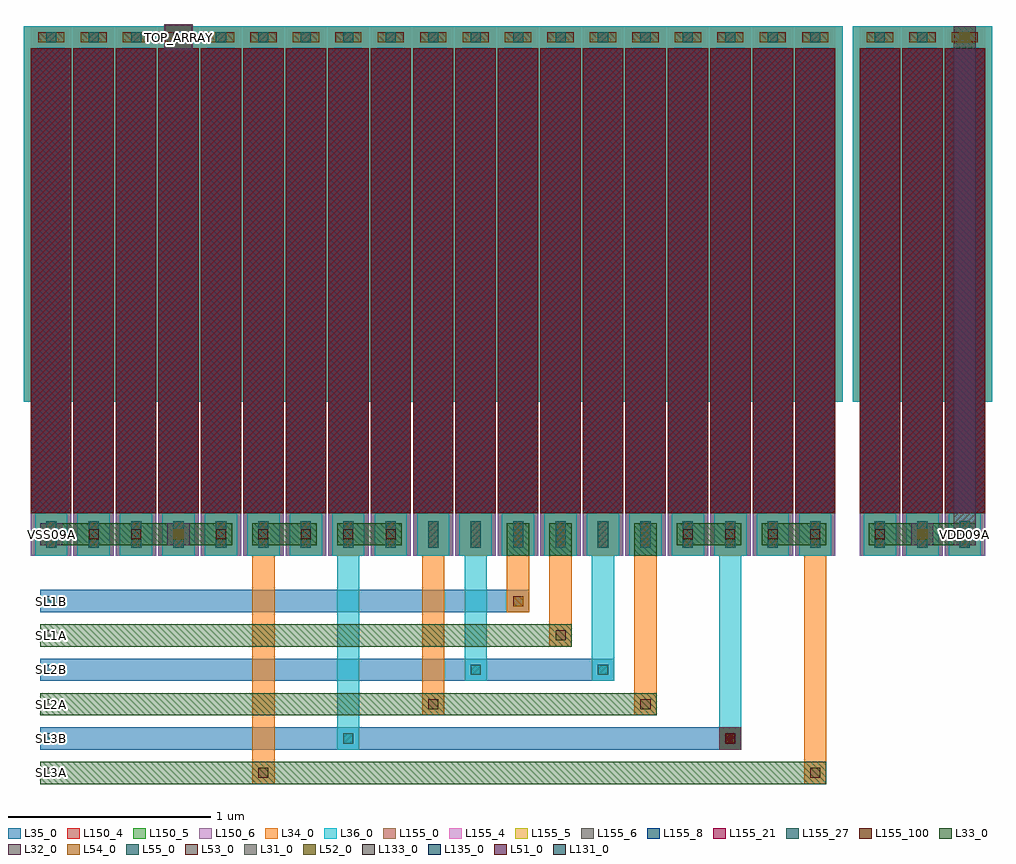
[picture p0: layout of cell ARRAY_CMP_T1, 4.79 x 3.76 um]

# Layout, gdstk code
from math import pi, radians
import gdstk
lib = gdstk.Library(unit=1e-6, precision=1e-09)
def R(c, l, rs):  # rectangles x0, y0, x1, y1
    for r in rs: c.add(gdstk.rectangle(r[:2], r[2:], *l))
def A(c, l, x, y, w, h, nx, ny, dx, dy):  # array of equal rectangles
    R(c, l, [(x+i*dx, y+j*dy, x+i*dx+w, y+j*dy+h) for i in range(nx) for j in range(ny)])
L31_0 = (31, 0)
L32_0 = (32, 0)
L33_0 = (33, 0)
L34_0 = (34, 0)
L35_0 = (35, 0)
L36_0 = (36, 0)
L51_0 = (51, 0)
L52_0 = (52, 0)
L53_0 = (53, 0)
L54_0 = (54, 0)
L55_0 = (55, 0)
L131_0 = (131, 0)
L133_0 = (133, 0)
L135_0 = (135, 0)
L150_4 = (150, 4)
L150_5 = (150, 5)
L150_6 = (150, 6)
L155_0 = (155, 0)
L155_4 = (155, 4)
L155_5 = (155, 5)
L155_6 = (155, 6)
L155_8 = (155, 8)
L155_21 = (155, 21)
L155_27 = (155, 27)
L155_100 = (155, 100)

m5_m4_cdns_622278099608 = lib.new_cell('M5_M4_CDNS_622278099608')
R(m5_m4_cdns_622278099608, L34_0, [(-0.07,-0.105,0.07,0.105)])
R(m5_m4_cdns_622278099608, L35_0, [(-0.07,-0.105,0.07,0.105)])
R(m5_m4_cdns_622278099608, L54_0, [(-0.025,-0.065,0.025,0.065)])

m6_m5_cdns_622278099609 = lib.new_cell('M6_M5_CDNS_622278099609')
R(m6_m5_cdns_622278099609, L35_0, [(-0.07,-0.105,0.07,0.105)])
R(m6_m5_cdns_622278099609, L36_0, [(-0.055,-0.105,0.055,0.105)])
R(m6_m5_cdns_622278099609, L55_0, [(-0.025,-0.065,0.025,0.065)])

m5_m4_cdns_6222780996010 = lib.new_cell('M5_M4_CDNS_6222780996010')
R(m5_m4_cdns_6222780996010, L34_0, [(-0.095,-0.055,0.095,0.055)])
R(m5_m4_cdns_6222780996010, L35_0, [(-0.12,-0.055,0.12,0.055)])
R(m5_m4_cdns_6222780996010, L54_0, [(-0.065,-0.025,0.065,0.025)])

m6_m5_cdns_622278099606 = lib.new_cell('M6_M5_CDNS_622278099606')
R(m6_m5_cdns_622278099606, L35_0, [(-0.055,-0.055,0.055,0.055)])
R(m6_m5_cdns_622278099606, L36_0, [(-0.055,-0.055,0.055,0.055)])
R(m6_m5_cdns_622278099606, L55_0, [(-0.025,-0.025,0.025,0.025)])

cu1f = lib.new_cell('CU1F')
R(cu1f, L34_0, [(0.02,0,0.18,0.21), (-0.035,2.51,0.235,2.62)])
R(cu1f, L35_0, [(0.02,0,0.18,0.21), (-0.035,2.51,0.235,2.62)])
R(cu1f, L36_0, [(0.02,0,0.18,0.21), (-0.035,2.51,0.235,2.62)])
R(cu1f, L150_4, [(0,0,0.2,2.62)])
R(cu1f, L150_5, [(0,0,0.2,2.62)])
R(cu1f, L150_6, [(0,0,0.2,2.62)])
R(cu1f, L155_0, [(0,0.21,0.2,2.51)])
R(cu1f, L155_4, [(0,0.21,0.2,2.51)])
R(cu1f, L155_5, [(0,0.21,0.2,2.51)])
R(cu1f, L155_6, [(0,0.21,0.2,2.51)])
R(cu1f, L155_8, [(0,0.21,0.2,2.51)])
R(cu1f, L155_21, [(0,0.21,0.2,2.51)])
R(cu1f, L155_27, [(0,0.21,0.2,2.51)])
R(cu1f, L155_100, [(0,0.21,0.2,2.51)])
cu1f.add(gdstk.FlexPath([(0.205,2.59),(0.205,0.76)], 0.06, ends=(0.03, 0), simple_path=True, layer=34, datatype=0))  # L34_0
cu1f.add(gdstk.FlexPath([(0.1,2.41),(0.1,0)], 0.05, ends="flush", simple_path=True, layer=34, datatype=0))  # L34_0
cu1f.add(gdstk.FlexPath([(-0.005,2.59),(-0.005,0.76)], 0.06, ends=(0.03, 0), simple_path=True, layer=34, datatype=0))  # L34_0
cu1f.add(gdstk.FlexPath([(0.205,0.76),(0.205,2.59)], 0.06, ends=(0, 0.03), simple_path=True, layer=35, datatype=0))  # L35_0
cu1f.add(gdstk.FlexPath([(0.1,2.41),(0.1,0)], 0.05, ends="flush", simple_path=True, layer=35, datatype=0))  # L35_0
cu1f.add(gdstk.FlexPath([(-0.005,0.76),(-0.005,2.59)], 0.06, ends=(0, 0.03), simple_path=True, layer=35, datatype=0))  # L35_0
cu1f.add(gdstk.FlexPath([(0.205,0.76),(0.205,2.59)], 0.06, ends=(0, 0.03), simple_path=True, layer=36, datatype=0))  # L36_0
cu1f.add(gdstk.FlexPath([(0.1,2.41),(0.1,0)], 0.05, ends="flush", simple_path=True, layer=36, datatype=0))  # L36_0
cu1f.add(gdstk.FlexPath([(-0.005,0.76),(-0.005,2.59)], 0.06, ends=(0, 0.03), simple_path=True, layer=36, datatype=0))  # L36_0
cu1f.add(gdstk.Reference(m5_m4_cdns_622278099608, (0.1,0.105), rotation=pi, x_reflection=True))
cu1f.add(gdstk.Reference(m6_m5_cdns_622278099609, (0.1,0.105), rotation=pi, x_reflection=True))
cu1f.add(gdstk.Reference(m5_m4_cdns_6222780996010, (0.1,2.565)))
cu1f.add(gdstk.Reference(m6_m5_cdns_622278099606, (0.1,2.565)))

m2_m1_cdns_622278099600 = lib.new_cell('M2_M1_CDNS_622278099600')
R(m2_m1_cdns_622278099600, L31_0, [(-0.055,-0.055,0.055,0.055)])
R(m2_m1_cdns_622278099600, L32_0, [(-0.055,-0.055,0.055,0.055)])
R(m2_m1_cdns_622278099600, L51_0, [(-0.025,-0.025,0.025,0.025)])

m3_m2_cdns_622278099601 = lib.new_cell('M3_M2_CDNS_622278099601')
R(m3_m2_cdns_622278099601, L32_0, [(-0.055,-0.055,0.055,0.055)])
R(m3_m2_cdns_622278099601, L33_0, [(-0.055,-0.055,0.055,0.055)])
R(m3_m2_cdns_622278099601, L52_0, [(-0.025,-0.025,0.025,0.025)])

m4_m3_cdns_622278099602 = lib.new_cell('M4_M3_CDNS_622278099602')
R(m4_m3_cdns_622278099602, L33_0, [(-0.055,-0.055,0.055,0.055)])
R(m4_m3_cdns_622278099602, L34_0, [(-0.055,-0.055,0.055,0.055)])
R(m4_m3_cdns_622278099602, L53_0, [(-0.025,-0.025,0.025,0.025)])

m4_m3_cdns_622278099603 = lib.new_cell('M4_M3_CDNS_622278099603')
R(m4_m3_cdns_622278099603, L33_0, [(-0.07,-0.065,0.07,0.065)])
R(m4_m3_cdns_622278099603, L34_0, [(-0.055,-0.055,0.055,0.055)])
R(m4_m3_cdns_622278099603, L53_0, [(-0.025,-0.025,0.025,0.025)])

m3_m2_cdns_622278099604 = lib.new_cell('M3_M2_CDNS_622278099604')
R(m3_m2_cdns_622278099604, L32_0, [(-0.065,-0.06,0.065,0.06)])
R(m3_m2_cdns_622278099604, L33_0, [(-0.07,-0.065,0.07,0.065)])
R(m3_m2_cdns_622278099604, L52_0, [(-0.025,-0.025,0.025,0.025)])

m2_m1_cdns_622278099605 = lib.new_cell('M2_M1_CDNS_622278099605')
R(m2_m1_cdns_622278099605, L31_0, [(-0.055,-0.055,0.055,0.055)])
R(m2_m1_cdns_622278099605, L32_0, [(-0.065,-0.06,0.065,0.06)])
R(m2_m1_cdns_622278099605, L51_0, [(-0.025,-0.025,0.025,0.025)])

m5_m4_cdns_622278099607 = lib.new_cell('M5_M4_CDNS_622278099607')
R(m5_m4_cdns_622278099607, L34_0, [(-0.055,-0.055,0.055,0.055)])
R(m5_m4_cdns_622278099607, L35_0, [(-0.055,-0.055,0.055,0.055)])
R(m5_m4_cdns_622278099607, L54_0, [(-0.025,-0.025,0.025,0.025)])

array_cmp_t1 = lib.new_cell('ARRAY_CMP_T1')
R(array_cmp_t1, L31_0, [(0.56,2.5,0.7,2.63)])
R(array_cmp_t1, L32_0, [(4.465,0.05,4.575,2.62)])
R(array_cmp_t1, L33_0, [(-0.055,-1.13,3.835,-1.02), (-0.055,-0.79,2.995,-0.68), (-0.055,-0.45,2.575,-0.34), (2.255,0,2.365,0.16), (2.465,0,2.575,0.16), (2.885,0,2.995,0.16), (-0.055,0.05,0.895,0.16), (0.995,0.05,1.315,0.16), (1.415,0.05,1.735,0.16), (3.095,0.05,3.415,0.16), (3.515,0.05,3.835,0.16), (4.045,0.05,4.575,0.16), (4.465,2.51,4.575,2.62)])
R(array_cmp_t1, L34_0, [(0.995,-1.13,1.105,0.16), (3.725,-1.13,3.835,0.16), (1.835,-0.79,1.945,0.16), (2.885,-0.79,2.995,0.16), (2.465,-0.45,2.575,0.16), (2.255,-0.28,2.365,0.16)])
R(array_cmp_t1, L35_0, [(-0.055,-0.96,3.415,-0.85), (-0.055,-0.62,2.785,-0.51), (-0.055,-0.28,2.365,-0.17)])
R(array_cmp_t1, L36_0, [(1.415,-0.96,1.525,0.16), (3.305,-0.96,3.415,0.16), (2.045,-0.62,2.155,0.16), (2.675,-0.62,2.785,0.16)])
R(array_cmp_t1, L131_0, [(0.605,2.54,0.655,2.59)])
A(array_cmp_t1, L133_0, -0.025, -1.1, 0.05, 0.05, 1, 3, 0, 0.34)
R(array_cmp_t1, L133_0, [(-0.025,0.08,0.025,0.13), (4.495,0.08,4.545,0.13)])
A(array_cmp_t1, L135_0, -0.025, -0.93, 0.05, 0.05, 1, 3, 0, 0.34)
array_cmp_t1.add(gdstk.Reference(cu1f, (4,0)))
array_cmp_t1.add(gdstk.Reference(cu1f, (4.21,0)))
array_cmp_t1.add(gdstk.Reference(cu1f, (0.53,0)))
array_cmp_t1.add(gdstk.Reference(cu1f, (0.74,0)))
array_cmp_t1.add(gdstk.Reference(cu1f, (4.42,0)))
array_cmp_t1.add(gdstk.Reference(cu1f, (0.32,0)))
array_cmp_t1.add(gdstk.Reference(cu1f, (0.11,0)))
array_cmp_t1.add(gdstk.Reference(cu1f, (-0.1,0)))
array_cmp_t1.add(gdstk.Reference(cu1f, (3.68,0)))
array_cmp_t1.add(gdstk.Reference(cu1f, (3.47,0)))
array_cmp_t1.add(gdstk.Reference(cu1f, (3.26,0)))
array_cmp_t1.add(gdstk.Reference(cu1f, (3.05,0)))
array_cmp_t1.add(gdstk.Reference(cu1f, (2.84,0)))
array_cmp_t1.add(gdstk.Reference(cu1f, (2.63,0)))
array_cmp_t1.add(gdstk.Reference(cu1f, (2.42,0)))
array_cmp_t1.add(gdstk.Reference(cu1f, (2.21,0)))
array_cmp_t1.add(gdstk.Reference(cu1f, (2,0)))
array_cmp_t1.add(gdstk.Reference(cu1f, (1.79,0)))
array_cmp_t1.add(gdstk.Reference(cu1f, (1.58,0)))
array_cmp_t1.add(gdstk.Reference(cu1f, (1.37,0)))
array_cmp_t1.add(gdstk.Reference(cu1f, (1.16,0)))
array_cmp_t1.add(gdstk.Reference(cu1f, (0.95,0)))
array_cmp_t1.add(gdstk.Reference(m2_m1_cdns_622278099600, (3.36,-0.905)))
array_cmp_t1.add(gdstk.Reference(m3_m2_cdns_622278099601, (4.52,2.565)))
array_cmp_t1.add(gdstk.Reference(m3_m2_cdns_622278099601, (4.52,0.105)))
array_cmp_t1.add(gdstk.Reference(m3_m2_cdns_622278099601, (0,0.105)))
array_cmp_t1.add(gdstk.Reference(m3_m2_cdns_622278099601, (0.63,0.105)))
array_cmp_t1.add(gdstk.Reference(m3_m2_cdns_622278099601, (4.31,0.105)))
array_cmp_t1.add(gdstk.Reference(m3_m2_cdns_622278099601, (3.36,-0.905)))
array_cmp_t1.add(gdstk.Reference(m4_m3_cdns_622278099602, (4.52,2.565), rotation=pi, x_reflection=True))
array_cmp_t1.add(gdstk.Reference(m4_m3_cdns_622278099602, (2.94,-0.735)))
array_cmp_t1.add(gdstk.Reference(m4_m3_cdns_622278099602, (1.05,-1.075)))
array_cmp_t1.add(gdstk.Reference(m4_m3_cdns_622278099602, (1.89,-0.735)))
array_cmp_t1.add(gdstk.Reference(m4_m3_cdns_622278099602, (1.68,0.105)))
array_cmp_t1.add(gdstk.Reference(m4_m3_cdns_622278099602, (3.78,0.105)))
array_cmp_t1.add(gdstk.Reference(m4_m3_cdns_622278099602, (3.36,0.105)))
array_cmp_t1.add(gdstk.Reference(m4_m3_cdns_622278099602, (3.15,0.105)))
array_cmp_t1.add(gdstk.Reference(m4_m3_cdns_622278099602, (3.78,-1.075)))
array_cmp_t1.add(gdstk.Reference(m4_m3_cdns_622278099602, (4.52,0.105)))
array_cmp_t1.add(gdstk.Reference(m4_m3_cdns_622278099602, (0.21,0.105)))
array_cmp_t1.add(gdstk.Reference(m4_m3_cdns_622278099602, (0.42,0.105)))
array_cmp_t1.add(gdstk.Reference(m4_m3_cdns_622278099602, (0,0.105)))
array_cmp_t1.add(gdstk.Reference(m4_m3_cdns_622278099602, (0.84,0.105)))
array_cmp_t1.add(gdstk.Reference(m4_m3_cdns_622278099602, (0.63,0.105)))
array_cmp_t1.add(gdstk.Reference(m4_m3_cdns_622278099602, (4.1,0.105)))
array_cmp_t1.add(gdstk.Reference(m4_m3_cdns_622278099602, (4.31,0.105)))
array_cmp_t1.add(gdstk.Reference(m4_m3_cdns_622278099602, (1.26,0.105)))
array_cmp_t1.add(gdstk.Reference(m4_m3_cdns_622278099602, (2.52,-0.395)))
array_cmp_t1.add(gdstk.Reference(m4_m3_cdns_622278099602, (1.47,0.105)))
array_cmp_t1.add(gdstk.Reference(m4_m3_cdns_622278099602, (1.05,0.105)))
array_cmp_t1.add(gdstk.Reference(m4_m3_cdns_622278099602, (3.36,-0.905)))
array_cmp_t1.add(gdstk.Reference(m4_m3_cdns_622278099602, (3.57,0.105)))
array_cmp_t1.add(gdstk.Reference(m4_m3_cdns_622278099603, (0.63,2.565)))
array_cmp_t1.add(gdstk.Reference(m3_m2_cdns_622278099604, (0.63,2.565)))
array_cmp_t1.add(gdstk.Reference(m2_m1_cdns_622278099605, (0.63,2.565)))
array_cmp_t1.add(gdstk.Reference(m6_m5_cdns_622278099606, (3.36,0.105)))
array_cmp_t1.add(gdstk.Reference(m6_m5_cdns_622278099606, (1.47,0.105)))
array_cmp_t1.add(gdstk.Reference(m6_m5_cdns_622278099606, (3.36,-0.905)))
array_cmp_t1.add(gdstk.Reference(m6_m5_cdns_622278099606, (2.1,-0.565)))
array_cmp_t1.add(gdstk.Reference(m6_m5_cdns_622278099606, (1.47,-0.905)))
array_cmp_t1.add(gdstk.Reference(m6_m5_cdns_622278099606, (2.73,-0.565)))
array_cmp_t1.add(gdstk.Reference(m5_m4_cdns_622278099607, (2.31,-0.225)))
array_cmp_t1.add(gdstk.Reference(m5_m4_cdns_622278099607, (1.47,0.105)))
array_cmp_t1.add(gdstk.Reference(m5_m4_cdns_622278099607, (3.36,-0.905)))
array_cmp_t1.add(gdstk.Reference(m5_m4_cdns_622278099607, (3.36,0.105)))
array_cmp_t1.add(gdstk.Label('SL3B', (0,-0.905), layer=135, texttype=0))
array_cmp_t1.add(gdstk.Label('SL1B', (0,-0.225), layer=135, texttype=0))
array_cmp_t1.add(gdstk.Label('SL2B', (0,-0.565), layer=135, texttype=0))
array_cmp_t1.add(gdstk.Label('SL3A', (0,-1.075), layer=133, texttype=0))
array_cmp_t1.add(gdstk.Label('SL1A', (0,-0.395), layer=133, texttype=0))
array_cmp_t1.add(gdstk.Label('VDD09A', (4.52,0.105), layer=133, texttype=0))
array_cmp_t1.add(gdstk.Label('SL2A', (0,-0.735), layer=133, texttype=0))
array_cmp_t1.add(gdstk.Label('VSS09A', (0,0.105), layer=133, texttype=0))
array_cmp_t1.add(gdstk.Label('TOP_ARRAY', (0.628,2.565), layer=131, texttype=0))

lib.write_gds('ARRAY_CMP_T1.gds')
